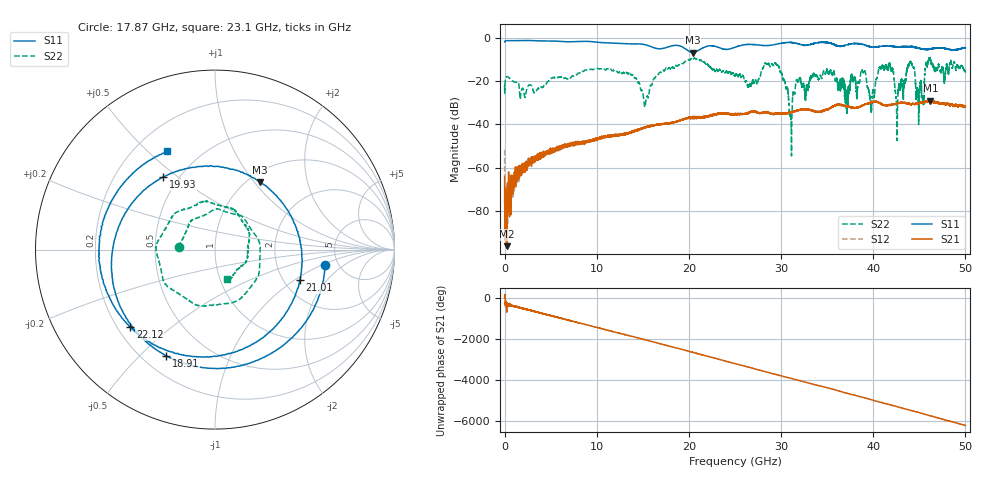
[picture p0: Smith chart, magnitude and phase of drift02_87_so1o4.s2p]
!Created with skrf (http://scikit-rf.org).
# Hz S RI R 50.0
!freq ReS11 ImS11 ReS21 ImS21 ReS12 ImS12 ReS22 ImS22
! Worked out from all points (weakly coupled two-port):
!   10001 points, 300 kHz to 50 GHz, reference 50 ohm
!   highest |S21| = -29.10 dB at 46.2 GHz (marker M1); lowest = -96.1 dB at 235.3 MHz (marker M2)
!   lowest |S11| = -6.9 dB at 20.43 GHz (marker M3), VSWR 2.65, Z = 56.8 + j53.6 ohm
!   |S11| at or under -10 dB: nowhere
!   |S22| runs from -54.5 to -9.1 dB; largest |S21 - S12| = 0.003
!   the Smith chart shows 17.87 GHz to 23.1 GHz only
!   S11 on the Smith chart (normalised r, x): 17.87 GHz: 3.93, -1.10; 18.91 GHz: 0.29, -0.60; 19.93 GHz: 0.41, +0.44; 21.01 GHz: 2.44, -1.11; 22.12 GHz: 0.25, -0.37; 23.1 GHz: 0.33, +0.57
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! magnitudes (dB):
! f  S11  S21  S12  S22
! 300 kHz  -2.0  -64.2  -51.7  -21.8
! 235.3 MHz  -1.4  -96.1  -74.2  -18.0
! 8.335 GHz  -1.7  -48.7  -47.9  -15.7
! 15.33 GHz  -3.4  -41.4  -41.2  -29.3
! 16.67 GHz  -5.2  -40.0  -40.1  -17.0
! 17.87 GHz  -4.2  -39.6  -39.2  -13.9
! 18.91 GHz  -3.7  -38.4  -38.3  -12.5
! 19.93 GHz  -6.1  -37.0  -36.9  -10.2
! 20.43 GHz  -6.9  -36.7  -36.9  -10.0
! 21.01 GHz  -6.0  -36.6  -36.7  -9.8
! 22.12 GHz  -3.9  -36.0  -36.2  -12.9
! 23.1 GHz  -4.3  -35.0  -35.3  -15.1
! 25 GHz  -4.5  -35.2  -35.3  -17.5
! 29.52 GHz  -3.1  -34.8  -35.1  -12.6
! 31.03 GHz  -2.3  -34.3  -34.8  -34.9
! 33.34 GHz  -3.0  -33.5  -33.6  -18.3
! 38.92 GHz  -3.2  -31.1  -31.0  -16.1
! 39.88 GHz  -4.4  -29.9  -29.9  -27.7
! 41.67 GHz  -3.9  -30.9  -31.1  -13.0
! 42.62 GHz  -4.3  -30.5  -30.2  -34.3
! 46.2 GHz  -5.2  -29.1  -29.3  -9.6
! 50 GHz  -4.7  -32.0  -32.1  -16.1
